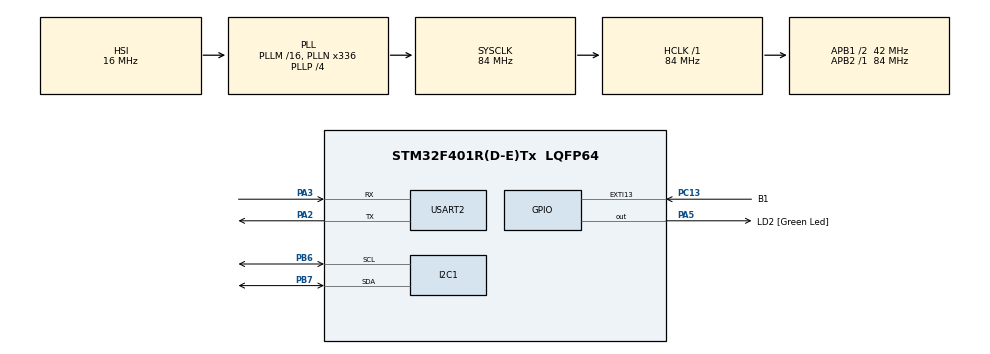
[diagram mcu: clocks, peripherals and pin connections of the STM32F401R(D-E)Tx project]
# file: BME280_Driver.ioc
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Mcu.Family=STM32F4
Mcu.Name=STM32F401R(D-E)Tx
Mcu.Package=LQFP64
NVIC.I2C1_EV_IRQn=true\:0\:0\:false\:false\:true\:true\:true\:true
NVIC.PriorityGroup=NVIC_PRIORITYGROUP_4
NVIC.TIM1_UP_TIM10_IRQn=true\:0\:0\:false\:false\:true\:true\:true\:true
NVIC.USART2_IRQn=true\:0\:0\:false\:false\:true\:true\:true\:true
PA13.GPIO_Label=TMS
PA13.Mode=Trace_Asynchronous_SW
PA13.Signal=SYS_JTMS-SWDIO
PA14.GPIO_Label=TCK
PA14.Mode=Trace_Asynchronous_SW
PA14.Signal=SYS_JTCK-SWCLK
PA2.GPIO_Mode=GPIO_MODE_AF_PP
PA2.GPIO_ModeDefaultPP=GPIO_MODE_AF_PP
PA2.GPIO_PuPd=GPIO_NOPULL
PA2.GPIO_Speed=GPIO_SPEED_FREQ_VERY_HIGH
PA2.Mode=Asynchronous
PA2.Signal=USART2_TX
PA3.GPIO_Mode=GPIO_MODE_AF_PP
PA3.GPIO_ModeDefaultPP=GPIO_MODE_AF_PP
PA3.GPIO_PuPd=GPIO_NOPULL
PA3.GPIO_Speed=GPIO_SPEED_FREQ_VERY_HIGH
PA3.Mode=Asynchronous
PA3.Signal=USART2_RX
PA5.GPIO_Label=LD2 [Green Led]
PA5.GPIO_Mode=GPIO_MODE_OUTPUT_PP
PA5.GPIO_PuPd=GPIO_NOPULL
PA5.GPIO_Speed=GPIO_SPEED_FREQ_LOW
PA5.Signal=GPIO_Output
PB3.GPIO_Label=SWO
PB3.Mode=Trace_Asynchronous_SW
PB3.Signal=SYS_JTDO-SWO
PB6.Mode=I2C
PB6.Signal=I2C1_SCL
PB7.Mode=I2C
PB7.Signal=I2C1_SDA
PC13-ANTI_TAMP.GPIO_Label=B1
PC13-ANTI_TAMP.GPIO_ModeDefaultEXTI=GPIO_MODE_IT_FALLING
PC13-ANTI_TAMP.GPIO_PuPd=GPIO_NOPULL
PC13-ANTI_TAMP.Signal=GPXTI13
PC14-OSC32_IN.Mode=LSE-External-Oscillator
PC14-OSC32_IN.Signal=RCC_OSC32_IN
PC15-OSC32_OUT.Mode=LSE-External-Oscillator
PC15-OSC32_OUT.Signal=RCC_OSC32_OUT
PH0\ -\ OSC_IN.Mode=HSE-External-Clock-Source
PH0\ -\ OSC_IN.Signal=RCC_OSC_IN
PH1\ -\ OSC_OUT.Mode=HSE-External-Clock-Source
PH1\ -\ OSC_OUT.Signal=RCC_OSC_OUT
ProjectManager.HeapSize=0x200
ProjectManager.StackSize=0x400
ProjectManager.TargetToolchain=STM32CubeIDE
RCC.48MHZClocksFreq_Value=48000000
RCC.AHBFreq_Value=84000000
RCC.APB1CLKDivider=RCC_HCLK_DIV2
RCC.APB1Freq_Value=42000000
RCC.APB1TimFreq_Value=84000000
RCC.APB2Freq_Value=84000000
RCC.APB2TimFreq_Value=84000000
RCC.CortexFreq_Value=84000000
RCC.HCLKFreq_Value=84000000
RCC.HSE_VALUE=8000000
RCC.HSI_VALUE=16000000
RCC.PLLN=336
RCC.PLLP=RCC_PLLP_DIV4
RCC.PLLQ=7
RCC.SYSCLKFreq_VALUE=84000000
RCC.SYSCLKSource=RCC_SYSCLKSOURCE_PLLCLK
RCC.VCOOutputFreq_Value=336000000
TIM10.AutoReloadPreload=TIM_AUTORELOAD_PRELOAD_ENABLE
TIM10.Period=999
TIM10.Prescaler=8399
USART2.VirtualMode=VM_ASYNC
VP_TIM10_VS_ClockSourceINT.Mode=Enable_Timer
board=NUCLEO-F401RE

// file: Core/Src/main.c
/* USER CODE BEGIN Header */
/**
 ******************************************************************************
 * @file           : main.c
 * @brief          : Main program body
 ******************************************************************************
 * @attention
 *
 * Copyright (c) 2026 STMicroelectronics.
 * All rights reserved.
 *
 * This software is licensed under terms that can be found in the LICENSE file
 * in the root directory of this software component.
 * If no LICENSE file comes with this software, it is provided AS-IS.
 *
 ******************************************************************************
 */
/* USER CODE END Header */
#include "main.h"
#include "i2c.h"
#include "tim.h"
#include "usart.h"
#include "gpio.h"
#include "bme280.h"
#include "parse_command.h"
#include <string.h>
#include <stdio.h>

void SystemClock_Config(void);

/* USER CODE BEGIN 0 */
#define TX_RING_BUFFER_SIZE 8

volatile uint8_t timer_flag = 0;
volatile uint8_t forced_measurement_flag = 0;
volatile uint8_t forced_timer_flag = 0;

/* UART receive flags and command buffer control */
volatile uint8_t rx_flag = 0;
volatile uint8_t overflow_flag = 0;

volatile uint8_t tx_busy = 0;

/* Single received UART character */
uint8_t rx_data = 0;

/* Current write position inside RX buffer */
uint8_t rx_index = 0;

/* Buffer for incoming UART command */
char rx_data_buffer[32];

/* Buffer for UART response messages */
char uart_response[256];

char tx_ring_buffer[TX_RING_BUFFER_SIZE][256];
volatile uint8_t tx_ring_head = 0;
volatile uint8_t tx_ring_tail = 0;
volatile uint8_t tx_overflow_counter = 0;

Command parsed_command;

static void UART_Send_Message() {
	HAL_StatusTypeDef tx_status;

	if (tx_overflow_counter > 0
			&& (tx_ring_head + 1) % TX_RING_BUFFER_SIZE != tx_ring_tail) {

		snprintf(tx_ring_buffer[tx_ring_head],
				sizeof(tx_ring_buffer[tx_ring_head]),
				"[WARNING] TX overflow! Dropped %d messages\r\n",
				tx_overflow_counter);
		tx_overflow_counter = 0;
		tx_ring_head = (tx_ring_head + 1) % TX_RING_BUFFER_SIZE;

	}

	if (tx_ring_head == tx_ring_tail) {
		return;
	}

	if (tx_busy == 1) {
		return;
	}

	tx_busy = 1;
	tx_status = HAL_UART_Transmit_IT(&huart2,
			(uint8_t*) tx_ring_buffer[tx_ring_tail],
			strlen(tx_ring_buffer[tx_ring_tail]));

	if (tx_status == HAL_OK) {
		tx_ring_tail = (tx_ring_tail + 1) % TX_RING_BUFFER_SIZE;
	} else {
		tx_busy = 0;
	}

}

static void Add_Tx_Message(const char *msg) {
	if ((tx_ring_head + 1) % TX_RING_BUFFER_SIZE == tx_ring_tail) {
		tx_overflow_counter++;
		return;
	} else {
		snprintf(tx_ring_buffer[tx_ring_head],
				sizeof(tx_ring_buffer[tx_ring_head]), "%s", msg);
		tx_ring_head = (tx_ring_head + 1) % TX_RING_BUFFER_SIZE;
	}

	UART_Send_Message();
}

static void UART_ProcessRxData(BME280_HandleTypeDef *bme) {
	/* Detect RX buffer overflow */
	if (rx_index >= sizeof(rx_data_buffer) - 1) {
		overflow_flag = 1;
	}

	/* Wait for end of invalid command after overflow */
	if (overflow_flag == 1 && rx_data == '\n') {

		rx_index = 0;
		overflow_flag = 0;

		rx_data_buffer[rx_index] = '\0';

		Add_Tx_Message("Overflow! Try again.\r\n");

	} else if (overflow_flag == 0) {

		/* Store received character inside RX buffer */
		if (rx_data != '\n') {

			rx_data_buffer[rx_index++] = rx_data;

		} else {

			/* End of command detected */
			rx_data_buffer[rx_index] = '\0';

			rx_index = 0;

			parsed_command = ParseCommand(rx_data_buffer);
			ExecuteCommand(&parsed_command, bme, uart_response);
			Add_Tx_Message(uart_response);
		}
	}

	rx_flag = 0;

}

/* USER CODE END 0 */

int main(void) {

	/* USER CODE BEGIN 1 */

	BME280_HandleTypeDef bme;

	bme.hi2c = &hi2c1;
	bme.address = 0x76 << 1;
	bme.t_fine = 0;

	bme.osrs_t = BME280_OSRS_X1;
	bme.osrs_p = BME280_OSRS_X1;
	bme.osrs_h = BME280_OSRS_X1;

	bme.mode = BME280_SLEEP_MODE;

	/* USER CODE END 1 */

	/* MCU Configuration--------------------------------------------------------*/

	/* Reset of all peripherals, Initializes the Flash interface and the Systick. */
	HAL_Init();

	/* Configure the system clock */
	SystemClock_Config();

	/* Initialize all configured peripherals */
	MX_GPIO_Init();
	MX_USART2_UART_Init();
	MX_I2C1_Init();
	MX_TIM10_Init();
	/* USER CODE BEGIN 2 */

	/* Start timer interrupt */
	HAL_TIM_Base_Init(&htim10);
	HAL_TIM_Base_Start_IT(&htim10);

	/* Start UART reception in interrupt mode */
	HAL_UART_Receive_IT(&huart2, &rx_data, 1);

	/* Initialize BME280 sensor */
	HAL_StatusTypeDef BME280_init_status = BME280_Init(&bme);

	float temp;
	float pressure;
	float humidity;

	char measurements[3][32];

	/* USER CODE END 2 */

	/* Infinite loop */
	while (1) {

		/* USER CODE BEGIN 3 */

		/* Handle received UART data */

		if (rx_flag == 1) {
			UART_ProcessRxData(&bme);
		}

		/* Trigger single forced measurement after button press */
		if (HAL_GPIO_ReadPin(B1_GPIO_Port, B1_Pin) == GPIO_PIN_RESET
				&& forced_timer_flag == 0) {

			if (BME280_TriggerForcedMeasurement(&bme) == HAL_OK) {

				forced_timer_flag = 1;
				timer_flag = 0;
			}

		} else if (HAL_GPIO_ReadPin(B1_GPIO_Port, B1_Pin) == GPIO_PIN_SET) {

			forced_timer_flag = 0;
		}

		/* Read and print measurement after forced conversion */
		if (forced_measurement_flag == 1) {

			if (BME280_ReadMeasurements(&bme, &temp, &pressure, &humidity)
					== HAL_OK && BME280_init_status == HAL_OK) {

				snprintf(measurements[0], sizeof(measurements[0]),
						"Temperature: %.2f C.\r\n", temp);
				snprintf(measurements[1], sizeof(measurements[1]),
						"Pressure: %.2f hPa.\r\n", pressure);
				snprintf(measurements[2], sizeof(measurements[2]),
						"Humidity: %.2f RH.\r\n", humidity);

				for (uint8_t i = 0; i < 3; i++) {
					Add_Tx_Message(measurements[i]);
				}

			} else {

				Add_Tx_Message("Read error\r\n");
			}

			forced_measurement_flag = 0;
		}
	}

	/* USER CODE END 3 */
}

void SystemClock_Config(void) {
	RCC_OscInitTypeDef RCC_OscInitStruct = { 0 };
	RCC_ClkInitTypeDef RCC_ClkInitStruct = { 0 };

	/** Configure the main internal regulator output voltage
	 */
	__HAL_RCC_PWR_CLK_ENABLE();
	__HAL_PWR_VOLTAGESCALING_CONFIG(PWR_REGULATOR_VOLTAGE_SCALE2);

	/** Initializes the RCC Oscillators according to the specified parameters
	 * in the RCC_OscInitTypeDef structure.
	 */
	RCC_OscInitStruct.OscillatorType = RCC_OSCILLATORTYPE_HSI;
	RCC_OscInitStruct.HSIState = RCC_HSI_ON;
	RCC_OscInitStruct.HSICalibrationValue = RCC_HSICALIBRATION_DEFAULT;
	RCC_OscInitStruct.PLL.PLLState = RCC_PLL_ON;
	RCC_OscInitStruct.PLL.PLLSource = RCC_PLLSOURCE_HSI;
	RCC_OscInitStruct.PLL.PLLM = 16;
	RCC_OscInitStruct.PLL.PLLN = 336;
	RCC_OscInitStruct.PLL.PLLP = RCC_PLLP_DIV4;
	RCC_OscInitStruct.PLL.PLLQ = 7;
	if (HAL_RCC_OscConfig(&RCC_OscInitStruct) != HAL_OK) {
		Error_Handler();
	}

	/** Initializes the CPU, AHB and APB buses clocks
	 */
	RCC_ClkInitStruct.ClockType = RCC_CLOCKTYPE_HCLK | RCC_CLOCKTYPE_SYSCLK
			| RCC_CLOCKTYPE_PCLK1 | RCC_CLOCKTYPE_PCLK2;
	RCC_ClkInitStruct.SYSCLKSource = RCC_SYSCLKSOURCE_PLLCLK;
	RCC_ClkInitStruct.AHBCLKDivider = RCC_SYSCLK_DIV1;
	RCC_ClkInitStruct.APB1CLKDivider = RCC_HCLK_DIV2;
	RCC_ClkInitStruct.APB2CLKDivider = RCC_HCLK_DIV1;

	if (HAL_RCC_ClockConfig(&RCC_ClkInitStruct, FLASH_LATENCY_2) != HAL_OK) {
		Error_Handler();
	}
}

/* USER CODE BEGIN 4 */

/* Timer interrupt callback */
void HAL_TIM_PeriodElapsedCallback(TIM_HandleTypeDef *htim) {
	if (htim == &htim10) {

		timer_flag++;

		/* Wait required time before reading measurement result */
		if (timer_flag >= 2 && forced_timer_flag == 1) {

			forced_measurement_flag = 1;
			timer_flag = 0;
		}
	}
}

/* UART receive complete callback */
void HAL_UART_RxCpltCallback(UART_HandleTypeDef *huart) {

	if (huart == &huart2) {

		rx_flag = 1;
		HAL_UART_Receive_IT(&huart2, &rx_data, 1);
	}
}

/* UART transmit complete callback */
void HAL_UART_TxCpltCallback(UART_HandleTypeDef *huart) {
	if (huart == &huart2) {
		tx_busy = 0;
		UART_Send_Message();
	}
}

/* USER CODE END 4 */

void Error_Handler(void) {
	__disable_irq();
	while (1) {
	}
}
